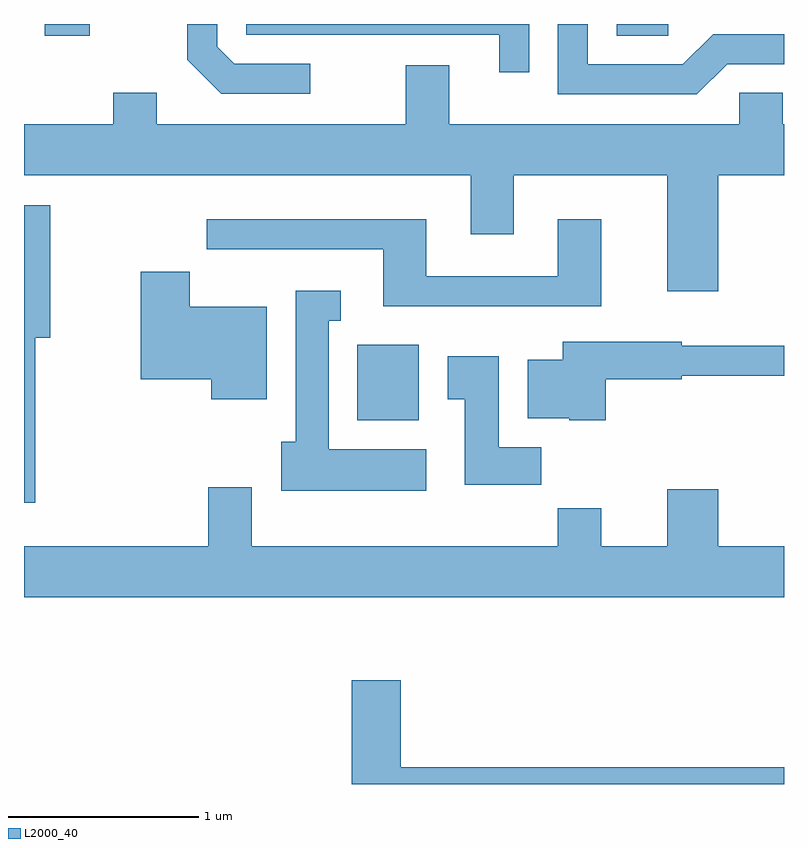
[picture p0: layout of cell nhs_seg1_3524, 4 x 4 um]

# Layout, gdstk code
import gdstk
lib = gdstk.Library(unit=1e-6, precision=1e-09)
def R(c, l, rs):  # rectangles x0, y0, x1, y1
    for r in rs: c.add(gdstk.rectangle(r[:2], r[2:], *l))
def P(c, l, *ps):  # polygons
    for p in ps: c.add(gdstk.Polygon(p, *l))
L2000_40 = (2000, 40)

nhs_seg1_3524 = lib.new_cell('nhs_seg1_3524')
R(nhs_seg1_3524, L2000_40, [(293.366,891.626,293.689,892.024), (291.721,893.651,291.958,893.712), (294.731,893.651,295.003,893.712)])
P(nhs_seg1_3524, L2000_40, [(295.312,893.501),(295.611,893.501),(295.611,893.659),(295.239,893.659),(295.079,893.499),(294.579,893.499),(294.579,893.712),(294.421,893.712),(294.421,893.341),(295.152,893.341)],
  [(293.118,893.504),(292.717,893.504),(292.629,893.592),(292.629,893.712),(292.471,893.712),(292.471,893.524),(292.649,893.346),(293.118,893.346)],
  [(294.269,893.712),(292.781,893.712),(292.781,893.656),(294.111,893.656),(294.111,893.458),(294.269,893.458)],
  [(295.376,893.349),(295.376,893.184),(293.849,893.184),(293.849,893.494),(293.621,893.494),(293.621,893.184),(292.309,893.184),(292.309,893.349),(292.081,893.349),(292.081,893.184),(291.611,893.184),(291.611,892.916),(293.961,892.916),(293.961,892.606),(294.189,892.606),(294.189,892.916),(294.996,892.916),(294.996,892.306),(295.264,892.306),(295.264,892.916),(295.611,892.916),(295.611,893.184),(295.604,893.184),(295.604,893.349)],
  [(291.669,892.061),(291.749,892.061),(291.749,892.759),(291.611,892.759),(291.611,891.191),(291.669,891.191)],
  [(294.649,892.684),(294.421,892.684),(294.421,892.384),(293.729,892.384),(293.729,892.684),(292.573,892.684),(292.573,892.526),(293.501,892.526),(293.501,892.226),(294.649,892.226)],
  [(292.889,892.224),(292.484,892.224),(292.484,892.409),(292.226,892.409),(292.226,891.841),(292.596,891.841),(292.596,891.736),(292.889,891.736)],
  [(293.729,891.474),(293.214,891.474),(293.214,892.151),(293.278,892.151),(293.278,892.309),(293.041,892.309),(293.041,891.514),(292.966,891.514),(292.966,891.256),(293.729,891.256)],
  [(294.674,891.841),(295.074,891.841),(295.074,891.861),(295.611,891.861),(295.611,892.019),(295.074,892.019),(295.074,892.039),(294.446,892.039),(294.446,891.944),(294.261,891.944),(294.261,891.636),(294.48,891.636),(294.48,891.626),(294.674,891.626)],
  [(294.334,891.484),(294.109,891.484),(294.109,891.964),(293.841,891.964),(293.841,891.736),(293.931,891.736),(293.931,891.286),(294.334,891.286)],
  [(295.611,890.964),(295.264,890.964),(295.264,891.264),(294.996,891.264),(294.996,890.964),(294.649,890.964),(294.649,891.164),(294.421,891.164),(294.421,890.964),(292.809,890.964),(292.809,891.274),(292.581,891.274),(292.581,890.964),(291.611,890.964),(291.611,890.696),(295.611,890.696)],
  [(295.611,889.799),(293.594,889.799),(293.594,890.259),(293.336,890.259),(293.336,889.712),(295.611,889.712)])

lib.write_gds('nhs_seg1_3524.gds')
